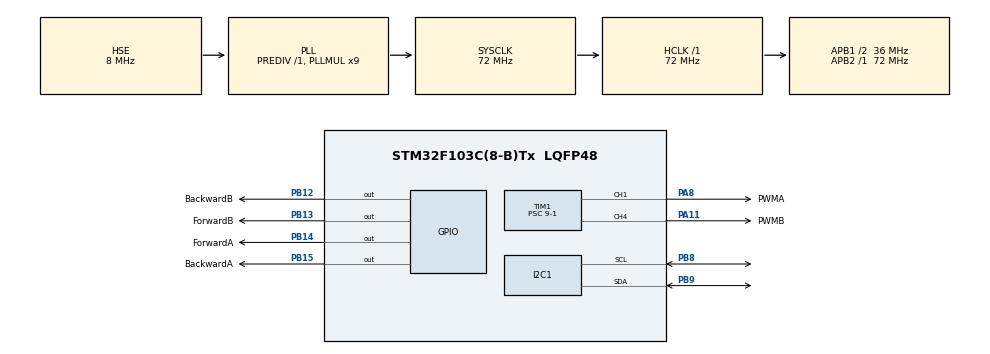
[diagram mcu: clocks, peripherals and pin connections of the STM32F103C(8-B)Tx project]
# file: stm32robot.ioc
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I2C1.I2C_Mode=I2C_Fast
Mcu.Family=STM32F1
Mcu.Name=STM32F103C(8-B)Tx
Mcu.Package=LQFP48
NVIC.PriorityGroup=NVIC_PRIORITYGROUP_4
NVIC.TIM4_IRQn=true\:0\:0\:false\:false\:true\:true\:true\:true
PA11.GPIO_Label=PWMB
PA11.Signal=S_TIM1_CH4
PA13.Mode=Serial_Wire
PA13.Signal=SYS_JTMS-SWDIO
PA14.Mode=Serial_Wire
PA14.Signal=SYS_JTCK-SWCLK
PA8.GPIO_Label=PWMA
PA8.Signal=S_TIM1_CH1
PB12.GPIO_Label=BackwardB
PB12.Signal=GPIO_Output
PB13.GPIO_Label=ForwardB
PB13.Signal=GPIO_Output
PB14.GPIO_Label=ForwardA
PB14.Signal=GPIO_Output
PB15.GPIO_Label=BackwardA
PB15.Signal=GPIO_Output
PB8.Mode=I2C
PB8.Signal=I2C1_SCL
PB9.Mode=I2C
PB9.Signal=I2C1_SDA
PD0-OSC_IN.Mode=HSE-External-Oscillator
PD0-OSC_IN.Signal=RCC_OSC_IN
PD1-OSC_OUT.Mode=HSE-External-Oscillator
PD1-OSC_OUT.Signal=RCC_OSC_OUT
ProjectManager.HeapSize=0x200
ProjectManager.StackSize=0x400
ProjectManager.TargetToolchain=STM32CubeIDE
RCC.AHBFreq_Value=72000000
RCC.APB1CLKDivider=RCC_HCLK_DIV2
RCC.APB1Freq_Value=36000000
RCC.APB1TimFreq_Value=72000000
RCC.APB2Freq_Value=72000000
RCC.APB2TimFreq_Value=72000000
RCC.HCLKFreq_Value=72000000
RCC.PLLMUL=RCC_PLL_MUL9
RCC.PLLSourceVirtual=RCC_PLLSOURCE_HSE
RCC.SYSCLKFreq_VALUE=72000000
RCC.SYSCLKSource=RCC_SYSCLKSOURCE_PLLCLK
RCC.USBFreq_Value=72000000
SH.S_TIM1_CH1.0=TIM1_CH1,PWM Generation1 CH1
SH.S_TIM1_CH4.0=TIM1_CH4,PWM Generation4 CH4
TIM1.Channel-PWM\ Generation1\ CH1=TIM_CHANNEL_1
TIM1.Channel-PWM\ Generation4\ CH4=TIM_CHANNEL_4
TIM1.CounterMode=TIM_COUNTERMODE_UP
TIM1.OC1Preload_PWM=ENABLE
TIM1.Period=100-1
TIM1.Prescaler=9-1
TIM1.Pulse-PWM\ Generation1\ CH1=0
TIM4.Period=50-1
TIM4.Prescaler=720-1
VP_TIM1_VS_ClockSourceINT.Mode=Internal
VP_TIM4_VS_ClockSourceINT.Mode=Internal
board=custom

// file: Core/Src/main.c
/* USER CODE BEGIN Header */
/**
  ******************************************************************************
  * @file           : main.c
  * @brief          : Main program body
  ******************************************************************************
  * @attention
  *
  * Copyright (c) 2024 STMicroelectronics.
  * All rights reserved.
  *
  * This software is licensed under terms that can be found in the LICENSE file
  * in the root directory of this software component.
  * If no LICENSE file comes with this software, it is provided AS-IS.
  *
  ******************************************************************************
  */
/* USER CODE END Header */
#include "main.h"

/* USER CODE BEGIN Includes */
#include <math.h>
#include <stdlib.h>
/* USER CODE END Includes */

I2C_HandleTypeDef hi2c1;

TIM_HandleTypeDef htim1;
TIM_HandleTypeDef htim4;

void SystemClock_Config(void);
static void MX_GPIO_Init(void);
static void MX_I2C1_Init(void);
static void MX_TIM1_Init(void);
static void MX_TIM4_Init(void);

/* USER CODE BEGIN 0 */
#define PI 3.14159265359
#define MAX_PWM 80
#define MIN_PWM -MAX_PWM;

// MPU6050 Address
#define MPU6050_ADDR 		0xD0

// MPU6050 Registers
#define ACCEL_CONFIG 		0x1C
#define GYRO_CONFIG 		0x1B
#define ACCEL_XOUT_H_REG 	0x3B
#define GYRO_XOUT_H_REG 	0x43
#define SMPLRT_DIV_REG		0x19
#define PWR_MNGMT_1_REG		0x6B
#define WHO_AM_I_REG		0x75

// Gyro range
#define GYRO_250			0
#define GYRO_500			8
#define GYRO_1000			9
#define GYRO_2000			10

// Accel range
#define ACCEL_2				0
#define ACCEL_4				8
#define ACCEL_8				9
#define ACCEL_10			10

// MPU6050 Reads
int16_t ax_raw = 0, ay_raw = 0, az_raw = 0; // accelerometer raw values
int16_t gx_raw = 0, gy_raw = 0, gz_raw = 0; // gyroscope raw values
float ax, ay, az, gx, gy, gz; // accurate mpu6050 values (after sensitivity)
float a_roll, a_pitch, g_roll, g_pitch, g_yaw; // No reliability in 'a_yaw'
float gyroXoffset = 0, gyroYoffset = 0, gyroZoffset = 0;
float accelXoffset = 0, accelYoffset = 0, accelZoffset = 0;

double roll, pitch, yaw; // final values values with filter for noise (roll = input)
static float alpha = 0.995; // prepare angle value before using complimentary filter (lowering this applies more horizontal acceleration)

// PID Controller
double output = 0, LastError = 0;
double error, integral, derivative;
double Kp = 4.3, Ki = 0.06, Kd = 0.135;
const int SetPoint = 1.5;
static int dt = 2000; // Sampling frequency of error = HSE/(pre-scaler * counter_period) = (72*10^6)/(72 * 50)
float current_time = 0, delta_t = 0, last_time = 0;

/* MPU6050 INITIALISE */
void MPU6050_Init(void)
{
	uint8_t check, data;

	HAL_I2C_Mem_Read(&hi2c1, MPU6050_ADDR, WHO_AM_I_REG, 1, &check, 1, 1000);
	if (check == 0x68)
	{
		// Wake up Device
		data = 0;
		HAL_I2C_Mem_Write(&hi2c1, MPU6050_ADDR, PWR_MNGMT_1_REG, 1, &data, 1, 1000);

		// Set data rate
		data = 0x07; // 1kHz
		HAL_I2C_Mem_Write(&hi2c1, MPU6050_ADDR, SMPLRT_DIV_REG, 1, &data, 1, 1000);

		// Configure Gyroscope
		data = GYRO_250; // range = +/- 250 deg
		HAL_I2C_Mem_Write(&hi2c1, MPU6050_ADDR, GYRO_CONFIG, 1, &data, 1, 1000);

		// Configure Accelerometer
		data = ACCEL_2; // range = +/- 2g
		HAL_I2C_Mem_Write(&hi2c1, MPU6050_ADDR, ACCEL_CONFIG, 1, &data, 1, 1000);
	}
}
/* END OF MPU6050 INITIALIZATION */

/* MPU6050 ACCELEROMETERR READ */
void MPU6050_ACCEL_READ()
{
	uint8_t data[6];

	HAL_I2C_Mem_Read(&hi2c1, MPU6050_ADDR, ACCEL_XOUT_H_REG, 1, data, 6, 1000);

	ax_raw = (int16_t)(data[0] << 8 | data[1]);
	ay_raw = (int16_t)(data[2] << 8 | data[3]);
	az_raw = (int16_t)(data[4] << 8 | data[5]);

	ax = (float)ax_raw/16384.0;
	ay = (float)ay_raw/16834.0;
	az = (float)az_raw/16384.0;
}
/* END OF ACCELEROMETER READ */

/* GYROSCOPE READ */
void MPU6050_GYRO_READ()
{
	uint8_t data[6];

	HAL_I2C_Mem_Read(&hi2c1, MPU6050_ADDR, GYRO_XOUT_H_REG, 1, data, 6, 1000);

	int16_t gx_raw = (int16_t)(data[0] << 8 | data[1]);
	int16_t gy_raw = (int16_t)(data[2] << 8 | data[3]);
	int16_t gz_raw = (int16_t)(data[4] << 8 | data[5]);

	gx = (float)gx_raw/131.0;
	gy = (float)gy_raw/131.0;
	gz = (float)gz_raw/131.0;
}
/* END OF GYROSCOPE READ */

/* Calibration for MPU6050 */
void CalGyro()
{
	int numReadings = 50;
	int16_t Xsum = 0, Ysum = 0, Zsum = 0;

	for (int i = 0; i < numReadings; i++)
	{
		MPU6050_GYRO_READ();
		Xsum += gx;
		Ysum += gy;
		Zsum += gz;
		HAL_Delay(10);
	}
	gyroXoffset = Xsum/numReadings;
	gyroYoffset = Ysum/numReadings;
	gyroZoffset = Zsum/numReadings;
}
/* END OF GYROSCOPE CALIBRATION */

/* ACCCELAROMETER CLAIBRATION */
void CalAccel()
{
	int numReadings = 50;
	int16_t Xsum = 0, Ysum = 0, Zsum = 0;

	for (int i = 0; i < numReadings; i++)
	{
		MPU6050_ACCEL_READ();
		Xsum += ax;
		Ysum += ay;
		Zsum += az;
		HAL_Delay(10);
	}
	accelXoffset = Xsum/numReadings;
	accelYoffset = Ysum/numReadings;
	accelZoffset = Zsum/numReadings;
}
/* END OF ACCELEROMETER CLIBRATION */

/* DIRECTIONAL MOTOR CONTROL */
void moveForward(int A, int B)
{
	 HAL_GPIO_WritePin(ForwardA_GPIO_Port, ForwardA_Pin, A);
	 HAL_GPIO_WritePin(ForwardB_GPIO_Port, ForwardB_Pin, B);
}

void moveBackward(int A, int B)
{
	HAL_GPIO_WritePin(BackwardA_GPIO_Port, BackwardA_Pin, A);
	HAL_GPIO_WritePin(BackwardB_GPIO_Port, BackwardB_Pin, B);
}
/* END OF MOTOR DIRECTIONAL CONTROL */

void HAL_TIM_PeriodElapsedCallback(TIM_HandleTypeDef* htim)
{
	if (htim -> Instance == TIM4)
	{

		  // Accelerometer
		  MPU6050_ACCEL_READ();
		  ax -= accelXoffset;
		  ay -= accelYoffset;
		  az -= accelZoffset;
		  //a_roll = atan(-ax/sqrt(pow(ay,2) + pow(az,2))) * 180/PI;
		  a_pitch = atan(-ay/sqrt(pow(ax,2) + pow(az,2))) * 180/PI;
		  // no yaw value due to reliability

		  /* GET TIME FOR GYROSCOPE READINGS AND PID CONTROLLER */
		  last_time = current_time;
		  current_time = HAL_GetTick();
		  delta_t = (current_time - last_time)/1000; // get it in seconds
		  /* END GET TIME */

		  // Gyroscope
		  MPU6050_GYRO_READ();
		  gx -= gyroXoffset;
		  //gy -= gyroYoffset;
		  //gz -= gyroZoffset;
		  //g_roll += gy*delta_t;
		  g_pitch += gx*delta_t;
		  //g_yaw += gz*delta_t;

		  /* ANGLES CALCULATION */

		  // filter
		  //roll = alpha*(gy*delta_t + roll) + (1-alpha)*a_roll;
		  pitch = alpha*(gx*delta_t + pitch) + (1-alpha)*a_pitch;

		  /* END OF ANGLES CALCULATIONS */

		  /* PID IMPLEMENTATIONS */

		  error = SetPoint - pitch;
		  integral += error/dt; // product of error and sampling frequency
		  // Prevent Anti-Winndup (max rpm of motors)
		  if (integral > 80)
			  integral = 80;
		  else if(integral < -80)
			  integral = -80;

		  derivative = (error - LastError)*dt; // division of change in error and sampling frequency

		  output = Kp*error + Ki*integral + Kd*derivative;

		  LastError = error;

		  if (output > 80)
			  output = 80;
		  else if (output < -80)
			  output = -80;

		  /* END OF PID IMPLEMENTATION */

		  /* PWM CONDITION SETUP */

		  // if the error (roll angle) is positive move the motors forward
		  if (error < 0)
		  {
			  // Move motors forward with a speed relative to output value
			  moveForward(1,1);
			  moveBackward(0,0);
			  //Update PWM
			  TIM1 -> CCR1 = abs(output)*0.9;
			  TIM1 -> CCR4 = abs(output)*0.9;
		  }
		  // i	f the error (roll angle) is negative move motors backward
		  else if (error > 0)
		  {
			  // Move motors backward with a speed relative to output value
			  moveForward(0,0);
			  moveBackward(1,1);
			  //Update PWM
			  TIM1 -> CCR1 = abs(output);
			  TIM1 -> CCR4 = abs(output);
		  }
		  // if the error = 0 then do nothing
		  else
		  {
			  moveForward(1,1);
			  moveBackward(1,1);
			  //Update PWM
			  TIM1 -> CCR1 = 0;
			  TIM1 -> CCR4 = 0;
		  }
		  /* END OF CONDIITON SETUP */
	}
}

/* USER CODE END 0 */

int main(void)
{

  /* MCU Configuration--------------------------------------------------------*/

  /* Reset of all peripherals, Initializes the Flash interface and the Systick. */
  HAL_Init();

  /* Configure the system clock */
  SystemClock_Config();

  /* Initialize all configured peripherals */
  MX_GPIO_Init();
  MX_I2C1_Init();
  MX_TIM1_Init();
  MX_TIM4_Init();
  /* USER CODE BEGIN 2 */

  // Start PWM Channels
  HAL_TIM_PWM_Start(&htim1, TIM_CHANNEL_1);
  HAL_TIM_PWM_Start(&htim1, TIM_CHANNEL_4);

  // Start MPU6050
  MPU6050_Init();
  HAL_Delay(1000);
  CalGyro(); // Calibrat Gyroscope for accurate reading
  CalAccel(); // Calibrate accelerometer for accurate reading

  // Start TIM4 interrupt
  HAL_TIM_Base_Start_IT(&htim4);

  //HAL_TIM_Base_Start_IT(&htim2);

  /* USER CODE END 2 */

  /* Infinite loop */
  while (1)
  {

  }
}

void SystemClock_Config(void)
{
  RCC_OscInitTypeDef RCC_OscInitStruct = {0};
  RCC_ClkInitTypeDef RCC_ClkInitStruct = {0};

  /** Initializes the RCC Oscillators according to the specified parameters
  * in the RCC_OscInitTypeDef structure.
  */
  RCC_OscInitStruct.OscillatorType = RCC_OSCILLATORTYPE_HSE;
  RCC_OscInitStruct.HSEState = RCC_HSE_ON;
  RCC_OscInitStruct.HSEPredivValue = RCC_HSE_PREDIV_DIV1;
  RCC_OscInitStruct.HSIState = RCC_HSI_ON;
  RCC_OscInitStruct.PLL.PLLState = RCC_PLL_ON;
  RCC_OscInitStruct.PLL.PLLSource = RCC_PLLSOURCE_HSE;
  RCC_OscInitStruct.PLL.PLLMUL = RCC_PLL_MUL9;
  if (HAL_RCC_OscConfig(&RCC_OscInitStruct) != HAL_OK)
  {
    Error_Handler();
  }

  /** Initializes the CPU, AHB and APB buses clocks
  */
  RCC_ClkInitStruct.ClockType = RCC_CLOCKTYPE_HCLK|RCC_CLOCKTYPE_SYSCLK
                              |RCC_CLOCKTYPE_PCLK1|RCC_CLOCKTYPE_PCLK2;
  RCC_ClkInitStruct.SYSCLKSource = RCC_SYSCLKSOURCE_PLLCLK;
  RCC_ClkInitStruct.AHBCLKDivider = RCC_SYSCLK_DIV1;
  RCC_ClkInitStruct.APB1CLKDivider = RCC_HCLK_DIV2;
  RCC_ClkInitStruct.APB2CLKDivider = RCC_HCLK_DIV1;

  if (HAL_RCC_ClockConfig(&RCC_ClkInitStruct, FLASH_LATENCY_2) != HAL_OK)
  {
    Error_Handler();
  }
}

static void MX_I2C1_Init(void)
{

  hi2c1.Instance = I2C1;
  hi2c1.Init.ClockSpeed = 400000;
  hi2c1.Init.DutyCycle = I2C_DUTYCYCLE_2;
  hi2c1.Init.OwnAddress1 = 0;
  hi2c1.Init.AddressingMode = I2C_ADDRESSINGMODE_7BIT;
  hi2c1.Init.DualAddressMode = I2C_DUALADDRESS_DISABLE;
  hi2c1.Init.OwnAddress2 = 0;
  hi2c1.Init.GeneralCallMode = I2C_GENERALCALL_DISABLE;
  hi2c1.Init.NoStretchMode = I2C_NOSTRETCH_DISABLE;
  if (HAL_I2C_Init(&hi2c1) != HAL_OK)
  {
    Error_Handler();
  }

}

static void MX_TIM1_Init(void)
{

  TIM_ClockConfigTypeDef sClockSourceConfig = {0};
  TIM_MasterConfigTypeDef sMasterConfig = {0};
  TIM_OC_InitTypeDef sConfigOC = {0};
  TIM_BreakDeadTimeConfigTypeDef sBreakDeadTimeConfig = {0};

  htim1.Instance = TIM1;
  htim1.Init.Prescaler = 9-1;
  htim1.Init.CounterMode = TIM_COUNTERMODE_UP;
  htim1.Init.Period = 100-1;
  htim1.Init.ClockDivision = TIM_CLOCKDIVISION_DIV1;
  htim1.Init.RepetitionCounter = 0;
  htim1.Init.AutoReloadPreload = TIM_AUTORELOAD_PRELOAD_DISABLE;
  if (HAL_TIM_Base_Init(&htim1) != HAL_OK)
  {
    Error_Handler();
  }
  sClockSourceConfig.ClockSource = TIM_CLOCKSOURCE_INTERNAL;
  if (HAL_TIM_ConfigClockSource(&htim1, &sClockSourceConfig) != HAL_OK)
  {
    Error_Handler();
  }
  if (HAL_TIM_PWM_Init(&htim1) != HAL_OK)
  {
    Error_Handler();
  }
  sMasterConfig.MasterOutputTrigger = TIM_TRGO_RESET;
  sMasterConfig.MasterSlaveMode = TIM_MASTERSLAVEMODE_DISABLE;
  if (HAL_TIMEx_MasterConfigSynchronization(&htim1, &sMasterConfig) != HAL_OK)
  {
    Error_Handler();
  }
  sConfigOC.OCMode = TIM_OCMODE_PWM1;
  sConfigOC.Pulse = 0;
  sConfigOC.OCPolarity = TIM_OCPOLARITY_HIGH;
  sConfigOC.OCNPolarity = TIM_OCNPOLARITY_HIGH;
  sConfigOC.OCFastMode = TIM_OCFAST_DISABLE;
  sConfigOC.OCIdleState = TIM_OCIDLESTATE_RESET;
  sConfigOC.OCNIdleState = TIM_OCNIDLESTATE_RESET;
  if (HAL_TIM_PWM_ConfigChannel(&htim1, &sConfigOC, TIM_CHANNEL_1) != HAL_OK)
  {
    Error_Handler();
  }
  if (HAL_TIM_PWM_ConfigChannel(&htim1, &sConfigOC, TIM_CHANNEL_4) != HAL_OK)
  {
    Error_Handler();
  }
  sBreakDeadTimeConfig.OffStateRunMode = TIM_OSSR_DISABLE;
  sBreakDeadTimeConfig.OffStateIDLEMode = TIM_OSSI_DISABLE;
  sBreakDeadTimeConfig.LockLevel = TIM_LOCKLEVEL_OFF;
  sBreakDeadTimeConfig.DeadTime = 0;
  sBreakDeadTimeConfig.BreakState = TIM_BREAK_DISABLE;
  sBreakDeadTimeConfig.BreakPolarity = TIM_BREAKPOLARITY_HIGH;
  sBreakDeadTimeConfig.AutomaticOutput = TIM_AUTOMATICOUTPUT_DISABLE;
  if (HAL_TIMEx_ConfigBreakDeadTime(&htim1, &sBreakDeadTimeConfig) != HAL_OK)
  {
    Error_Handler();
  }
  HAL_TIM_MspPostInit(&htim1);

}

static void MX_TIM4_Init(void)
{

  TIM_ClockConfigTypeDef sClockSourceConfig = {0};
  TIM_MasterConfigTypeDef sMasterConfig = {0};

  htim4.Instance = TIM4;
  htim4.Init.Prescaler = 720-1;
  htim4.Init.CounterMode = TIM_COUNTERMODE_UP;
  htim4.Init.Period = 50-1;
  htim4.Init.ClockDivision = TIM_CLOCKDIVISION_DIV1;
  htim4.Init.AutoReloadPreload = TIM_AUTORELOAD_PRELOAD_DISABLE;
  if (HAL_TIM_Base_Init(&htim4) != HAL_OK)
  {
    Error_Handler();
  }
  sClockSourceConfig.ClockSource = TIM_CLOCKSOURCE_INTERNAL;
  if (HAL_TIM_ConfigClockSource(&htim4, &sClockSourceConfig) != HAL_OK)
  {
    Error_Handler();
  }
  sMasterConfig.MasterOutputTrigger = TIM_TRGO_RESET;
  sMasterConfig.MasterSlaveMode = TIM_MASTERSLAVEMODE_DISABLE;
  if (HAL_TIMEx_MasterConfigSynchronization(&htim4, &sMasterConfig) != HAL_OK)
  {
    Error_Handler();
  }

}

static void MX_GPIO_Init(void)
{
  GPIO_InitTypeDef GPIO_InitStruct = {0};

  /* GPIO Ports Clock Enable */
  __HAL_RCC_GPIOD_CLK_ENABLE();
  __HAL_RCC_GPIOB_CLK_ENABLE();
  __HAL_RCC_GPIOA_CLK_ENABLE();

  /*Configure GPIO pin Output Level */
  HAL_GPIO_WritePin(GPIOB, BackwardB_Pin|ForwardB_Pin|ForwardA_Pin|BackwardA_Pin, GPIO_PIN_RESET);

  /*Configure GPIO pins : BackwardB_Pin ForwardB_Pin ForwardA_Pin BackwardA_Pin */
  GPIO_InitStruct.Pin = BackwardB_Pin|ForwardB_Pin|ForwardA_Pin|BackwardA_Pin;
  GPIO_InitStruct.Mode = GPIO_MODE_OUTPUT_PP;
  GPIO_InitStruct.Pull = GPIO_NOPULL;
  GPIO_InitStruct.Speed = GPIO_SPEED_FREQ_LOW;
  HAL_GPIO_Init(GPIOB, &GPIO_InitStruct);

}

void Error_Handler(void)
{
  __disable_irq();
  while (1)
  {
  }
}
